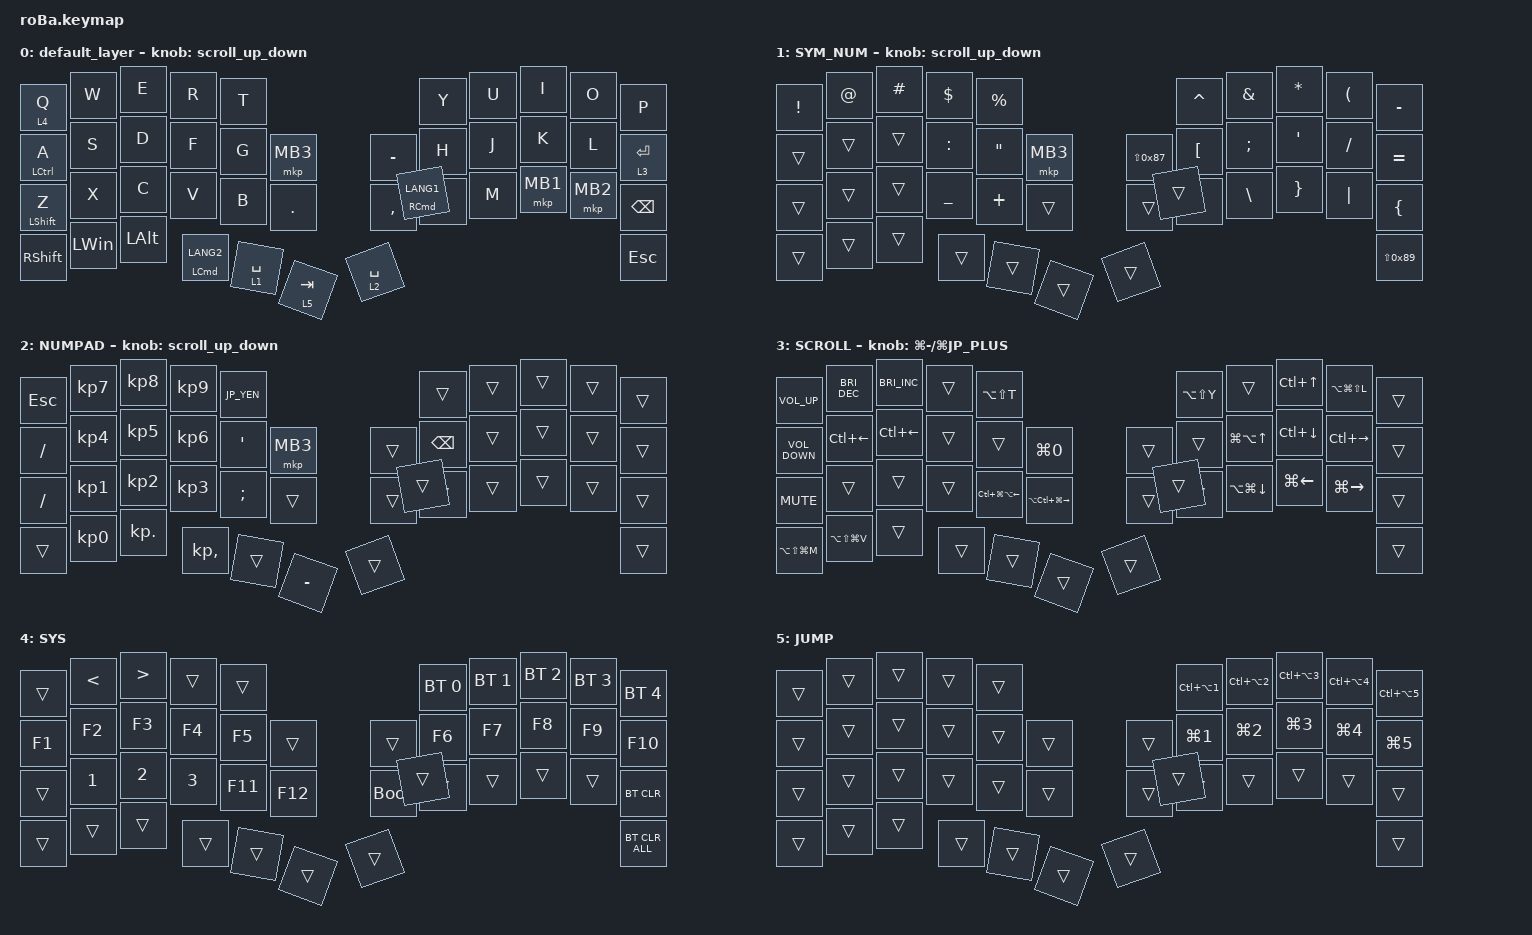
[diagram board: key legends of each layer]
#include <behaviors.dtsi>
#include <dt-bindings/zmk/bt.h>
#include <dt-bindings/zmk/keys.h>
#include <dt-bindings/zmk/pointing.h>

// OS設定を日本語キーボードのまま使用するための変換定義

#define JP_DQUOTE       AT                // "
#define JP_AMPERSAND    CARET             // &
#define JP_QUOTE        AMPERSAND         // '
#define JP_EQUAL        UNDER             // =
#define JP_CARET        EQUAL             // ^
#define JP_YEN          0x89              // ¥
#define JP_PLUS         COLON             // +
#define JP_TILDE        PLUS              // ~
#define JP_PIPE         LS(0x89)          // |
#define JP_AT           LEFT_BRACKET      // @
#define JP_COLON        SINGLE_QUOTE      // :
#define JP_ASTERISK     DOUBLE_QUOTES     // *
#define JP_BACKQUOTE    LEFT_BRACE        // `
#define JP_UNDERSCORE   LS(0x87)          // _
#define JP_LBRACKET     RIGHT_BRACKET     // [
#define JP_RBRACKET     BACKSLASH         // ]
#define JP_LPAREN       ASTERISK          // (
#define JP_RPAREN       LEFT_PARENTHESIS  // )
#define JP_LBRACE       RIGHT_BRACE       // {
#define JP_RBRACE       PIPE              // }
#define JP_KANA         LANGUAGE_1        // かな
#define JP_EISU         LANGUAGE_2        // 英数
#define JP_HANZEN       GRAVE             // 半角/全角

#define ZMK_POINTING_DEFAULT_SCRL_VAL 100  // #includeのあとのあたりにスクロール量を変更

// ── v2 レイヤー構成（2026-08-14 再設計）─────────────────────
// 5日分のキーログ実測（44,345打鍵）に基づく。設計の記録は
// My_Ops_Hub memory/reference_roba_keymap.md を参照。
//
//   0 default  — ベース（変更なし。, . - ! の筋肉記憶は温存）
//   1 SYM_NUM  — 左親指 SPACE 長押し → 右手に頻出記号
//                （/ @ ; : をホーム段へ。旧 NUM と旧 Sym_Num を統合）
//   2 NUMPAD   — 右親指 SPACE 長押し → 左手テンキー
//                （. , を KP_DOT / KP_COMMA 化＝かなモードでも半角）
//   3 SCROLL   — ENTER 長押し＋トラックボール scroll-layers
//   4 SYS      — Q 長押し → BT・bootloader・Fキー
//   5 JUMP     — TAB 長押し → 右手上段=⌃⌥1..5（Dia スペース、Raycast
//                スクリプト経由でどこからでも）、ホーム段=⌘1..5（ピン/タブ）
//
// 旧 FUNCTION(1)・旧 MOUSE(4)・旧 Sym_Num(7) は到達不能または統合により削除。
// 矢印クラスタも削除（実測で Ctrl+IKJL(Karabiner) しか使われていない）。
// ─────────────────────────────────────────────────────────

&mt {
    flavor = "balanced";
    quick-tap-ms = <0>;
};

&sl { release-after-ms = <250>; };

&lt {
    tapping-term-ms = <150>;
    flavor = "balanced";
    hold-while-undecided;
    hold-while-undecided-linger;
}; // ダブルクリックに必要な時間を設定
&trackball {
    // オートマウスレイヤーは無効（有効化するなら専用レイヤーを追加して番号を指定）

    scroll-layers = <3>;
};

/ {
    combos {
        compatible = "zmk,combos";

        copy-chatGPT {
            bindings = <&select_copy LG(A) LG(C)>;
            key-positions = <27 26>;
        };

        question {
            bindings = <&kp QUESTION>;
            key-positions = <21 20>;
        };

        alfred {
            bindings = <&kp LC(SPACE)>;
            key-positions = <10 38>;
        };

        shift_command_V {
            bindings = <&kp LS(LG(V))>;
            key-positions = <22 37 25>;
        };

        shift_command_C {
            bindings = <&kp LS(LG(C))>;
            key-positions = <22 37 24>;
        };

        shift_command_E {
            bindings = <&kp LS(LG(E))>;
            key-positions = <22 37 2>;
        };

        shift_command_S {
            bindings = <&kp LS(LG(S))>;
            key-positions = <22 37 11>;
        };

        shift_command_D {
            bindings = <&kp LS(LG(D))>;
            key-positions = <22 37 12>;
        };

        apple {
            bindings = <&Apple_macro>;
            key-positions = <18 41 19 20 21>;
        };
    };

    macros {
        browser_back: browser_back {
            compatible = "zmk,behavior-macro";
            #binding-cells = <0>;
            bindings = <&kp LG(LEFT_ARROW)>;
            label = "BROWSER_BACK";
        };

        zoom_in: zoom_in {
            compatible = "zmk,behavior-macro";
            #binding-cells = <0>;
            bindings = <&kp LG(PLUS)>;
            label = "ZOOM_IN";
        };

        select_copy: SELECT_AND_COPY {
            compatible = "zmk,behavior-macro-two-param";
            #binding-cells = <2>;
            bindings =
                <&macro_press>,
                <&macro_param_1to1 &kp MACRO_PLACEHOLDER>,
                <&macro_pause_for_release>,
                <&macro_release>,
                <&macro_wait_time 50>,
                <&macro_press>,
                <&macro_param_2to1 &kp MACRO_PLACEHOLDER>,
                <&macro_pause_for_release>,
                <&macro_release>;

            label = "SELECT_AND_COPY";
        };

        Apple_macro: apple_macro {
            compatible = "zmk,behavior-macro";
            #binding-cells = <0>;
            bindings = <&kp LS(A) &kp P &kp P &kp L &kp E &kp N0 &kp N7 &kp N0 &kp N1>;
            label = "apple_MACRO";
        };
    };

    behaviors {
        // ── 実測に基づくチューニング（2026-08-07）──────────────
        // 2026-08-06 の実測 37,462 イベントから決めた値。根拠:
        //
        //   Z を hold して他キーを打った 271 件は押下時間が二峰性だった。
        //     0-120ms   78 件  相手は R/L  → tap のつもりが hold になった誤爆
        //     120-200ms  9 件  （谷）
        //     200ms 以上 184 件  相手は ENT 125 件 → 意図的な Shift+Enter・大文字
        //   意図的な hold の押下は p50 = 298ms。誤爆と 150ms できれいに切れる。
        //
        // flavor: balanced → tap-preferred
        //   balanced は「他キーを押して離した」時点で tapping-term 内でも hold を
        //   確定させる。誤爆 78 件のうち 62 件がこれで、tapping-term をいくら
        //   伸ばしても救えなかった。tap-preferred は tapping-term を超えるまで
        //   hold にしないので、この層が丸ごと消える。
        //
        // tapping-term-ms: 100 → 150
        //   素の物理キーの押下は p50 64ms / p90 104ms。100 では通常打鍵の
        //   11.7% が hold 側に落ちる。150 なら 1.5%。
        //
        // hold-while-undecided を削除
        //   押した瞬間に Shift がホストへ漏れ、tap 成立時も LSFT の down/up が
        //   macOS に届いていた（実測 98 件）。ことえりへの余計な Shift を止める。
        //
        // ※ position 34 は計測用に RIGHT_SHIFT のまま（macOS 上の機能は同じ）。
        //   Before/After を比べるため、効果確認が済むまで戻さない。
        // ──────────────────────────────────────────────────────
        mt_z_custom: mt_z_custom {
            compatible = "zmk,behavior-hold-tap";
            label = "MT_Z_CUSTOM";
            #binding-cells = <2>;
            flavor = "tap-preferred";
            quick-tap-ms = <0>;
            tapping-term-ms = <150>;
            bindings = <&kp>, <&kp>;

            retro-tap;
            hold-trigger-key-positions = <37 24 13 11 25 5 6 7 8 19 20 18 16 17 28 29 30 31 32 9 21 33 1 2 4 3 12 14 27 26 23 15 0 10 34 35 36 38 39 40 41>;
        };

        // 新しいスクロール動作の追加

        scroll_up_down: behavior_sensor_rotate_mouse_wheel_up_down {
            compatible = "zmk,behavior-sensor-rotate";
            #sensor-binding-cells = <0>;
            bindings = <&msc SCRL_DOWN>, <&msc SCRL_UP>;

            // 追加: スクロールのタップ時間を設定 (20ms)

            tap-ms = <20>;
        };

        mt_comand_custom: mt_comand_custom {
            compatible = "zmk,behavior-hold-tap";
            label = "MT_COMAND_CUSTOM";
            #binding-cells = <2>;
            flavor = "balanced";
            tapping-term-ms = <150>;
            bindings = <&kp>, <&kp>;

            quick-tap-ms = <0>;
            hold-trigger-key-positions = <22 10 36>;
        };

        new_behavior: new_behavior {
            compatible = "zmk,behavior-sensor-rotate";
            #sensor-binding-cells = <0>;
            bindings = <&msc SCRL_DOWN>, <&msc SCRL_UP>;

            tap-ms = <20>;
            label = "NEW_BEHAVIOR";
        };
    };

    keymap {
        compatible = "zmk,keymap";

        default_layer {
            bindings = <
&lt 4 Q                    &kp W         &kp E         &kp R                                 &kp T                                     &kp Y                    &kp U  &kp I     &kp O     &kp P
&mt LEFT_CONTROL A         &kp S         &kp D         &kp F                                 &kp G        &mkp MB3        &kp MINUS    &kp H                    &kp J  &kp K     &kp L     &lt 3 ENTER
&mt_z_custom LEFT_SHIFT Z  &kp X         &kp C         &kp V                                 &kp B        &kp PERIOD      &kp COMMA    &kp N                    &kp M  &mkp MB1  &mkp MB2  &kp BACKSPACE
&kp RIGHT_SHIFT            &kp LEFT_WIN  &kp LEFT_ALT  &mt_comand_custom LEFT_COMMAND LANG2  &lt 1 SPACE  &lt 5 TAB       &lt 2 SPACE  &mt RIGHT_COMMAND LANG1                             &kp ESC
            >;

            sensor-bindings = <&scroll_up_down>;
        };

        // 記号の家（旧 NUM ＋ 旧 Sym_Num を統合。左親指 SPACE 長押し → 右手で打つ）
        //
        // 最上段は JIS 数字段の Shift 記号ミラー（! " # $ % / & ' ( ) -）＝
        // 「2 の位置に "」という既存の暗記と一致させる（2026-08-14 ユーザー指定）。
        // ホーム段: ; : は多用するので人差し指・中指の一等地に隣接ペアで。
        // / (ためらい425ms) は薬指ホーム、@ (打ち直し12.9%) は人差し指の内寄せ。
        // [27][28] は trans ＝ default の . , がレイヤー内でもそのまま打てる。
        SYM_NUM {
            bindings = <
&kp EXCLAMATION  &kp JP_DQUOTE  &kp HASH  &kp DOLLAR    &kp PERCENT                                        &kp JP_AMPERSAND  &kp JP_QUOTE     &kp JP_LPAREN  &kp JP_RPAREN  &kp MINUS
&trans           &trans         &trans    &kp JP_PLUS   &kp JP_ASTERISK  &mkp MB3       &kp JP_UNDERSCORE  &kp JP_AT         &kp SEMICOLON    &kp JP_COLON   &kp SLASH      &kp JP_CARET
&trans           &trans         &trans    &kp JP_EQUAL  &kp JP_TILDE     &trans         &trans             &kp JP_LBRACKET   &kp JP_RBRACKET  &kp JP_LBRACE  &kp JP_RBRACE  &kp JP_BACKQUOTE
&trans           &trans         &trans    &trans        &trans           &trans         &trans             &trans                                                           &kp JP_PIPE
            >;

            sensor-bindings = <&scroll_up_down>;
        };

        // テンキー（旧 ARROW。右親指 SPACE 長押し → 左手で打つ）
        //
        // v2 変更: PERIOD → KP_DOT / COMMA → KP_COMMA。ことえりはテンキー入力を
        // 半角で通すので、かなモードのまま「3.5」が打てる（。事故の根絶）。
        // 右手の矢印クラスタ・HOME/END は削除（実測で Ctrl+IKJL しか使われていない）。
        // BACKSPACE だけ数字入力中の訂正用に残す。
        NUMPAD {
            bindings = <
&kp ESCAPE  &kp KP_NUMBER_7  &kp KP_NUMBER_8  &kp KP_NUMBER_9  &kp JP_YEN                            &trans  &trans         &trans  &trans  &trans
&kp SLASH   &kp KP_NUMBER_4  &kp KP_NUMBER_5  &kp KP_NUMBER_6  &kp JP_COLON   &mkp MB3       &trans  &kp BACKSPACE  &trans  &trans  &trans  &trans
&kp SLASH   &kp KP_NUMBER_1  &kp KP_NUMBER_2  &kp KP_NUMBER_3  &kp SEMICOLON  &trans         &trans  &trans         &trans  &trans  &trans  &trans
&trans      &kp KP_NUMBER_0  &kp KP_DOT       &kp KP_COMMA     &trans         &kp MINUS      &trans  &trans                                 &trans
            >;

            sensor-bindings = <&scroll_up_down>;
        };

        SCROLL {
            bindings = <
&kp C_VOLUME_UP    &kp C_BRIGHTNESS_DEC  &kp C_BRIGHTNESS_INC  &trans  &kp LA(LS(T))                                                        &kp LA(LS(Y))  &trans                  &kp LC(UP_ARROW)    &kp LA(LG(LS(L)))    &trans
&kp C_VOLUME_DOWN  &kp LC(LEFT_ARROW)    &kp LC(LEFT_ARROW)    &trans  &trans                      &kp LG(NUMBER_0)                 &trans  &trans         &kp LG(LA(UP_ARROW))    &kp LC(DOWN_ARROW)  &kp LC(RIGHT_ARROW)  &trans
&kp K_MUTE         &trans                &trans                &trans  &kp LC(LG(LA(LEFT_ARROW)))  &kp LA(LC(LG(RIGHT_ARROW)))      &trans  &trans         &kp LA(LG(DOWN_ARROW))  &kp LG(LEFT_ARROW)  &kp LG(RIGHT_ARROW)  &trans
&kp LA(LS(LG(M)))  &kp LA(LS(LG(V)))     &trans                &trans  &trans                      &trans                           &trans  &trans                                                                          &trans
            >;

            sensor-bindings = <&inc_dec_kp LG(MINUS) LG(JP_PLUS)>;
        };

        // システム（旧 layer_6。Q 長押し）: Bluetooth・bootloader に加えて
        // 旧 FUNCTION/旧 layer_8 から F1-F12 と < > を収容（実測ほぼ未使用のため隅で十分）
        SYS {
            bindings = <
&trans  &kp LESS_THAN  &kp GREATER_THAN  &trans        &trans                            &bt BT_SEL 0  &bt BT_SEL 1  &bt BT_SEL 2  &bt BT_SEL 3  &bt BT_SEL 4
&kp F1  &kp F2         &kp F3            &kp F4        &kp F5   &trans      &trans       &kp F6        &kp F7        &kp F8        &kp F9        &kp F10
&trans  &kp NUMBER_1   &kp NUMBER_2     &kp NUMBER_3  &kp F11  &kp F12     &bootloader  &trans        &trans        &trans        &trans        &bt BT_CLR
&trans  &trans         &trans           &trans        &trans   &trans      &trans       &trans                                                  &bt BT_CLR_ALL
            >;
        };

        // JUMP（新設。左親指 TAB 長押し → 右手で行き先を1打）
        //
        //   上段 Y U I O P   = ⌃⌥1..5 → Raycast スクリプト「Dia スペース N」
        //                      （どのアプリに居ても Dia を前面化してスペース切替）
        //   ホーム段 H J K L ENT = ⌘1..5 → Dia のピン留めアプリ。他アプリでも
        //                      「N番目」(Slack ワークスペース・ブラウザタブ等) に効く
        //
        // アプリ切替（⇧⌘E 等）はレイヤー化しない方針（2026-08-14 ユーザー判断。
        // ショートカットとして完成しており、通常キーボードとの筋肉記憶を共有するため）
        JUMP {
            bindings = <
&trans  &trans  &trans  &trans  &trans                      &kp LC(LA(N1))  &kp LC(LA(N2))  &kp LC(LA(N3))  &kp LC(LA(N4))  &kp LC(LA(N5))
&trans  &trans  &trans  &trans  &trans  &trans      &trans  &kp LG(N1)      &kp LG(N2)      &kp LG(N3)      &kp LG(N4)      &kp LG(N5)
&trans  &trans  &trans  &trans  &trans  &trans      &trans  &trans          &trans          &trans          &trans          &trans
&trans  &trans  &trans  &trans  &trans  &trans      &trans  &trans                                                          &trans
            >;
        };
    };
};
